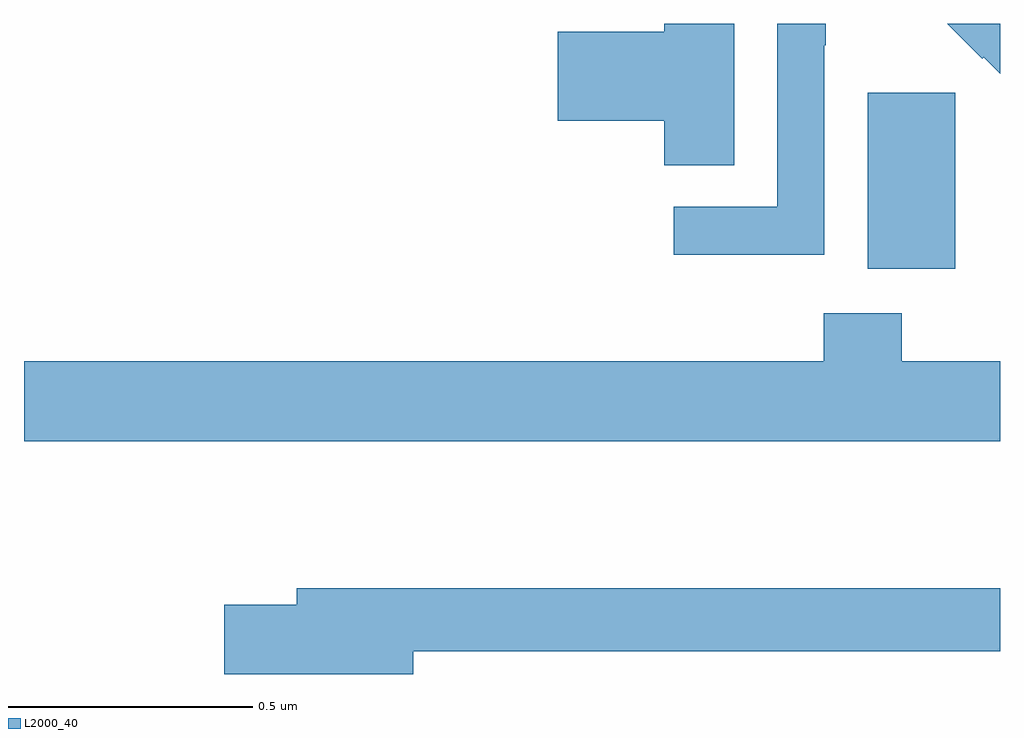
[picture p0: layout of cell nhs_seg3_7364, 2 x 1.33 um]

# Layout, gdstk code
import gdstk
lib = gdstk.Library(unit=1e-6, precision=1e-09)
def R(c, l, rs):  # rectangles x0, y0, x1, y1
    for r in rs: c.add(gdstk.rectangle(r[:2], r[2:], *l))
def P(c, l, *ps):  # polygons
    for p in ps: c.add(gdstk.Polygon(p, *l))
L2000_40 = (2000, 40)

nhs_seg3_7364 = lib.new_cell('nhs_seg3_7364')
R(nhs_seg3_7364, L2000_40, [(203.729,739.898,203.908,740.259)])
P(nhs_seg3_7364, L2000_40, [(203.64,740.356),(203.643,740.356),(203.643,740.4),(203.544,740.4),(203.544,740.025),(203.331,740.025),(203.331,739.927),(203.64,739.927)],
  [(204,740.4),(203.892,740.4),(203.964,740.328),(203.967,740.331),(204,740.298)],
  [(203.455,740.4),(203.312,740.4),(203.312,740.384),(203.094,740.384),(203.094,740.201),(203.312,740.201),(203.312,740.11),(203.455,740.11)],
  [(204,739.708),(203.799,739.708),(203.799,739.807),(203.639,739.807),(203.639,739.708),(202,739.708),(202,739.544),(204,739.544)],
  [(202.798,739.114),(204,739.114),(204,739.243),(202.559,739.243),(202.559,739.209),(202.41,739.209),(202.41,739.067),(202.798,739.067)])

lib.write_gds('nhs_seg3_7364.gds')
